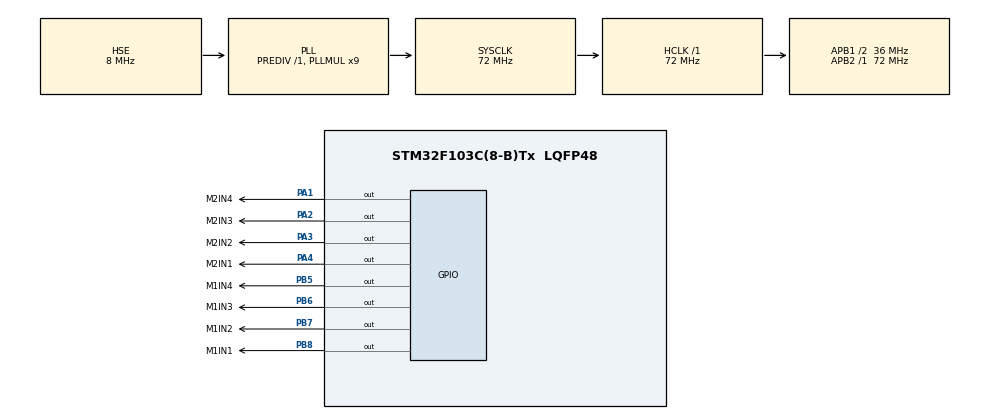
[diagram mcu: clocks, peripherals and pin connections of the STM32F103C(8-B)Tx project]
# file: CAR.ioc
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Mcu.Family=STM32F1
Mcu.Name=STM32F103C(8-B)Tx
Mcu.Package=LQFP48
NVIC.PriorityGroup=NVIC_PRIORITYGROUP_4
PA1.GPIO_Label=M2IN4
PA1.GPIO_PuPd=GPIO_PULLDOWN
PA1.Signal=GPIO_Output
PA13.Mode=Serial_Wire
PA13.Signal=SYS_JTMS-SWDIO
PA14.Mode=Serial_Wire
PA14.Signal=SYS_JTCK-SWCLK
PA2.GPIO_Label=M2IN3
PA2.GPIO_PuPd=GPIO_PULLDOWN
PA2.Signal=GPIO_Output
PA3.GPIO_Label=M2IN2
PA3.GPIO_PuPd=GPIO_PULLDOWN
PA3.Signal=GPIO_Output
PA4.GPIO_Label=M2IN1
PA4.GPIO_PuPd=GPIO_PULLDOWN
PA4.Signal=GPIO_Output
PB5.GPIO_Label=M1IN4
PB5.GPIO_PuPd=GPIO_PULLDOWN
PB5.Signal=GPIO_Output
PB6.GPIO_Label=M1IN3
PB6.GPIO_PuPd=GPIO_PULLDOWN
PB6.Signal=GPIO_Output
PB7.GPIO_Label=M1IN2
PB7.GPIO_PuPd=GPIO_PULLDOWN
PB7.Signal=GPIO_Output
PB8.GPIO_Label=M1IN1
PB8.GPIO_PuPd=GPIO_PULLDOWN
PB8.Signal=GPIO_Output
PD0-OSC_IN.Mode=HSE-External-Oscillator
PD0-OSC_IN.Signal=RCC_OSC_IN
PD1-OSC_OUT.Mode=HSE-External-Oscillator
PD1-OSC_OUT.Signal=RCC_OSC_OUT
ProjectManager.HeapSize=0x200
ProjectManager.StackSize=0x400
ProjectManager.TargetToolchain=MDK-ARM V5.27
RCC.AHBFreq_Value=72000000
RCC.APB1CLKDivider=RCC_HCLK_DIV2
RCC.APB1Freq_Value=36000000
RCC.APB1TimFreq_Value=72000000
RCC.APB2Freq_Value=72000000
RCC.APB2TimFreq_Value=72000000
RCC.HCLKFreq_Value=72000000
RCC.PLLMUL=RCC_PLL_MUL9
RCC.PLLSourceVirtual=RCC_PLLSOURCE_HSE
RCC.SYSCLKFreq_VALUE=72000000
RCC.SYSCLKSource=RCC_SYSCLKSOURCE_PLLCLK
RCC.USBFreq_Value=72000000
board=custom

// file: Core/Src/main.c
/* USER CODE BEGIN Header */
/**
  ******************************************************************************
  * @file           : main.c
  * @brief          : Main program body
  ******************************************************************************
  * @attention
  *
  * <h2><center>&copy; Copyright (c) 2021 STMicroelectronics.
  * All rights reserved.</center></h2>
  *
  * This software component is licensed by ST under BSD 3-Clause license,
  * the "License"; You may not use this file except in compliance with the
  * License. You may obtain a copy of the License at:
  *                        opensource.org/licenses/BSD-3-Clause
  *
  ******************************************************************************
  */
/* USER CODE END Header */
#include "main.h"
#include "gpio.h"

/* USER CODE BEGIN PV */
uint8_t flag;
/* USER CODE END PV */

void SystemClock_Config(void);

/* USER CODE BEGIN 0 */
void Reset()
{
	M1IN1_0;M1IN2_0;
	M1IN3_0;M1IN4_0;
	M2IN1_0;M2IN2_0;
	M2IN3_0;M2IN4_0;
}
void forward()
{
	M1IN1_1;M1IN2_0;
	M1IN3_1;M1IN4_0;
	M2IN1_1;M2IN2_0;
	M2IN3_1;M2IN4_0;
}
void backward()
{
	M1IN1_0;M1IN2_1;
	M1IN3_0;M1IN4_1;
	M2IN1_0;M2IN2_1;
	M2IN3_0;M2IN4_1;
}
void shift_left()
{
	M1IN1_0;M1IN2_1;
	M1IN3_1;M1IN4_0;
	M2IN1_0;M2IN2_1;
	M2IN3_1;M2IN4_0;
}
void shift_right()
{
	M1IN1_1;M1IN2_0;
	M1IN3_0;M1IN4_1;
	M2IN1_1;M2IN2_0;
	M2IN3_0;M2IN4_1;
}
void turn_left()
{
	M1IN1_0;M1IN2_1;
	M1IN3_1;M1IN4_0;
	M2IN1_1;M2IN2_0;
	M2IN3_0;M2IN4_1;
}
void turn_right()
{
	M1IN1_1;M1IN2_0;
	M1IN3_0;M1IN4_1;
	M2IN1_0;M2IN2_1;
	M2IN3_1;M2IN4_0;
}
/* USER CODE END 0 */

int main(void)
{

  /* MCU Configuration--------------------------------------------------------*/

  /* Reset of all peripherals, Initializes the Flash interface and the Systick. */
  HAL_Init();

  /* Configure the system clock */
  SystemClock_Config();

  /* Initialize all configured peripherals */
  MX_GPIO_Init();

  /* Infinite loop */
  while (1)
  {

    /* USER CODE BEGIN 3 */
//		switch(flag)
//		{
//			case 0:
//				Reset();
//			case 1:
//				forward();
//			case 2:
//				backward();
//			case 3:
//				shift_left();
//			case 4:
//				shift_right();
//			case 5:
//				turn_left();
//			case 6:
//				turn_right();
//			default:
//				Reset();
//		}
		HAL_Delay(100);
		forward();
		HAL_Delay(5000);
		backward();
		HAL_Delay(5000);
		shift_left();
		HAL_Delay(5000);
		shift_right();
		HAL_Delay(5000);
		turn_left();
		HAL_Delay(5000);
		turn_right();
		HAL_Delay(5000);
		Reset();
  }
  /* USER CODE END 3 */
}

void SystemClock_Config(void)
{
  RCC_OscInitTypeDef RCC_OscInitStruct = {0};
  RCC_ClkInitTypeDef RCC_ClkInitStruct = {0};

  /** Initializes the RCC Oscillators according to the specified parameters
  * in the RCC_OscInitTypeDef structure.
  */
  RCC_OscInitStruct.OscillatorType = RCC_OSCILLATORTYPE_HSE;
  RCC_OscInitStruct.HSEState = RCC_HSE_ON;
  RCC_OscInitStruct.HSEPredivValue = RCC_HSE_PREDIV_DIV1;
  RCC_OscInitStruct.HSIState = RCC_HSI_ON;
  RCC_OscInitStruct.PLL.PLLState = RCC_PLL_ON;
  RCC_OscInitStruct.PLL.PLLSource = RCC_PLLSOURCE_HSE;
  RCC_OscInitStruct.PLL.PLLMUL = RCC_PLL_MUL9;
  if (HAL_RCC_OscConfig(&RCC_OscInitStruct) != HAL_OK)
  {
    Error_Handler();
  }
  /** Initializes the CPU, AHB and APB buses clocks
  */
  RCC_ClkInitStruct.ClockType = RCC_CLOCKTYPE_HCLK|RCC_CLOCKTYPE_SYSCLK
                              |RCC_CLOCKTYPE_PCLK1|RCC_CLOCKTYPE_PCLK2;
  RCC_ClkInitStruct.SYSCLKSource = RCC_SYSCLKSOURCE_PLLCLK;
  RCC_ClkInitStruct.AHBCLKDivider = RCC_SYSCLK_DIV1;
  RCC_ClkInitStruct.APB1CLKDivider = RCC_HCLK_DIV2;
  RCC_ClkInitStruct.APB2CLKDivider = RCC_HCLK_DIV1;

  if (HAL_RCC_ClockConfig(&RCC_ClkInitStruct, FLASH_LATENCY_2) != HAL_OK)
  {
    Error_Handler();
  }
}

void Error_Handler(void)
{
  __disable_irq();
  while (1)
  {
  }
}

/************************ (C) COPYRIGHT STMicroelectronics *****END OF FILE****/
